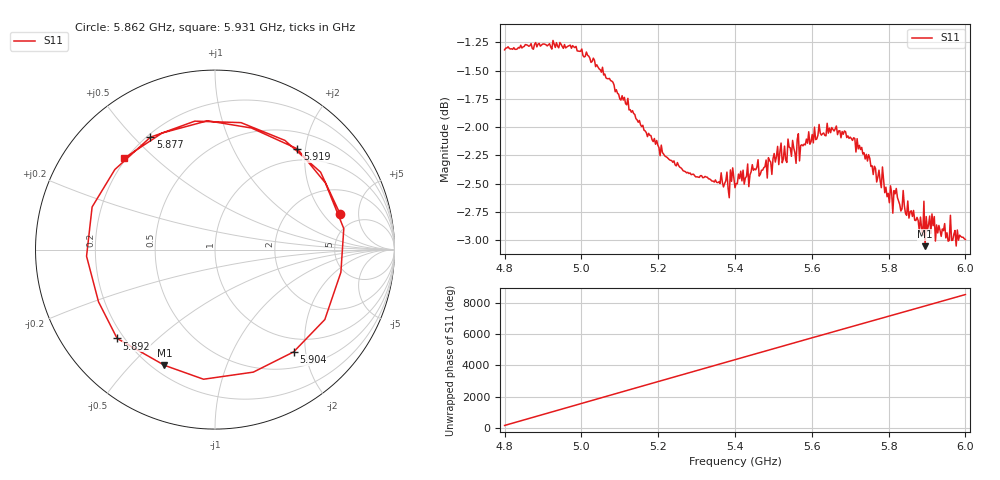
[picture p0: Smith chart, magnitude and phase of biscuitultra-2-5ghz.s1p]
! NanoVNA-App
! Date: 2026-05-15 11:40:55
! Start: 4.8GHz Stop: 6GHz Points: 401
! S-Parameter data: F S11
# Hz S RI R 50
!  Frequency  S11_Real  S11_Imag
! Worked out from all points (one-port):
!   401 points, 4.8 GHz to 6 GHz, reference 50 ohm
!   lowest |S11| = -3.1 dB at 5.895 GHz (marker M1), VSWR 5.75, Z = 12.3 - j31.3 ohm
!   |S11| at or under -10 dB: nowhere
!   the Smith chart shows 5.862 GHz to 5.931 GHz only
!   S11 on the Smith chart (normalised r, x): 5.862 GHz: 3.66, +3.03; 5.877 GHz: 0.21, +0.56; 5.892 GHz: 0.17, -0.38; 5.904 GHz: 0.75, -1.78; 5.919 GHz: 0.78, +1.85; 5.931 GHz: 0.19, +0.40
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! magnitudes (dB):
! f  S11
! 4.8 GHz  -1.3
! 4.95 GHz  -1.3
! 5.016 GHz  -1.4
! 5.1 GHz  -1.8
! 5.211 GHz  -2.2
! 5.25 GHz  -2.3
! 5.349 GHz  -2.5
! 5.4 GHz  -2.5
! 5.454 GHz  -2.4
! 5.469 GHz  -2.4
! 5.514 GHz  -2.3
! 5.529 GHz  -2.2
! 5.544 GHz  -2.2
! 5.55 GHz  -2.1
! 5.646 GHz  -2.0
! 5.7 GHz  -2.1
! 5.781 GHz  -2.5
! 5.796 GHz  -2.6
! 5.82 GHz  -2.5
! 5.85 GHz  -2.7
! 5.862 GHz  -2.8
! 5.877 GHz  -2.8
! 5.892 GHz  -2.7
! 5.895 GHz  -3.1
! 5.904 GHz  -2.9
! 5.919 GHz  -2.8
! 5.931 GHz  -2.9
! 6 GHz  -3.0
